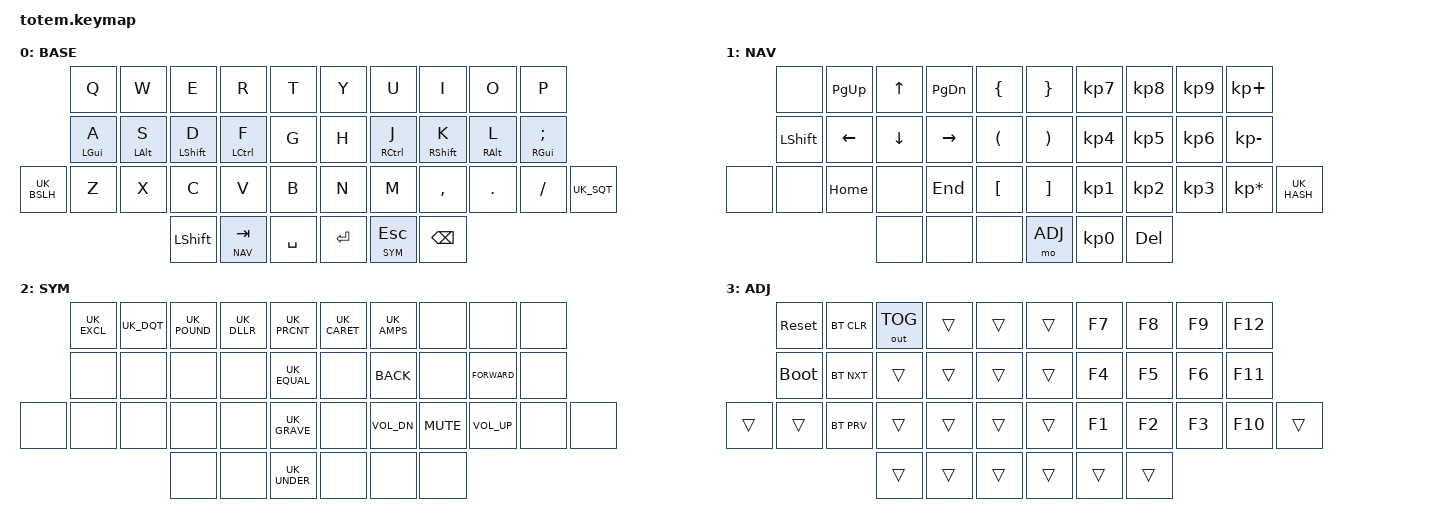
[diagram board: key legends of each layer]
//
//                                                        ▀▀▀▀▀     ▀▀▀▀▀          ▀▀█▀▀
//                                                        ▄▀▀▀▄  ▄  ▄▀▀▀▄  ▄  ▄▀▀▀▄  █  ▄▀▀▀▄
//                                                        █   █  █  █   █  █  █   █  █  █   █
//                                                         ▀▀▀   █   ▀▀▀   █   ▀▀▀   ▀   ▀▀▀
//                                                               █      ▄▄▄█▄▄▄    █   █  
//                                                               ▀      █  █  █     █▄█
//                                                             ▀▀▀▀▀    █  █  █      ▀
//                                                                      ▀  ▀  ▀
//
// ▄▄▄▄▄▄▄▄▄▄▄▄▄▄▄▄▄▄▄▄▄▄▄▄▄▄▄▄▄▄▄▄▄▄▄▄▄▄▄▄▄▄▄▄▄▄▄▄▄▄▄▄▄▄▄▄▄▄▄▄▄▄▄▄▄▄▄▄▄▄▄▄▄▄▄▄▄▄▄▄▄▄▄▄▄▄▄▄▄▄▄▄▄▄▄▄▄▄▄▄▄▄▄▄▄▄▄▄▄▄▄▄▄▄▄▄▄▄▄▄▄▄▄▄▄▄▄▄▄▄▄▄▄▄▄▄▄▄▄▄▄▄▄▄▄▄▄▄▄
       

#include <behaviors.dtsi>
#include <dt-bindings/zmk/keys.h>
#include <dt-bindings/zmk/bt.h>
#include <dt-bindings/zmk/outputs.h>

#include "keys_uk.h"

#define BASE 0
#define NAV  1
#define SYM  2
#define ADJ  3

&mt {
  quick-tap-ms = <100>;
  global-quick-tap;
  flavor = "tap-preferred";
  tapping-term-ms = <170>;
};

/ {
     combos {
            compatible = "zmk,combos";
            combo_esc {
                timeout-ms = <50>;
                key-positions = <0 1>;
                bindings = <&kp ESC>;
            };
    };

    macros {
        gif: gif {
            label = "giphy";
            compatible = "zmk,behavior-macro";
            #binding-cells = <0>;
            bindings
                = <&macro_press &kp LSHFT>
                , <&macro_tap &kp N2>
                , <&macro_release &kp LSHFT>
                , <&macro_tap &kp G &kp I &kp F>
                ;
        };
    };

        keymap {
                compatible = "zmk,keymap";
// ▄▄▄▄▄▄▄▄▄▄▄▄▄▄▄▄▄▄▄▄▄▄▄▄▄▄▄▄▄▄▄▄▄▄▄▄▄▄▄▄▄▄▄▄▄▄▄▄▄▄▄▄▄▄▄▄▄▄▄▄▄▄▄▄▄▄▄▄▄▄▄▄▄▄▄▄▄▄▄▄▄▄▄▄▄▄▄▄▄▄▄▄▄▄▄▄▄▄▄▄▄▄▄▄▄▄▄▄▄▄▄▄▄▄▄▄▄▄▄▄▄▄▄▄▄▄▄▄▄▄▄▄▄▄▄▄▄▄▄▄▄▄▄▄▄▄▄▄▄

                base_layer {
// ┏━━━━━━━━━━━━━━━━━━━━━━━━━━━━━━━━━━━━━━━┓
label= "BASE"                              ;
// ┗━━━━━━━━━━━━━━━━━━━━━━━━━━━━━━━━━━━━━━━┛
//             ┏━━━━━━━━━━━┳━━━━━━━━━━━┳━━━━━━━━━━━┳━━━━━━━━━━━┳━━━━━━━━━━━┓   ┏━━━━━━━━━━━┳━━━━━━━━━━━┳━━━━━━━━━━━┳━━━━━━━━━━━┳━━━━━━━━━━━┓
//             ┃     Q     ┃     W     ┃     E     ┃     R     ┃     T     ┃   ┃     Y     ┃     U     ┃     I     ┃     O     ┃     P     ┃
//             ┣━━━━━━━━━━━╋━━━━━━━━━━━╋━━━━━━━━━━━╋━━━━━━━━━━━╋━━━━━━━━━━━┫   ┣━━━━━━━━━━━╋━━━━━━━━━━━╋━━━━━━━━━━━╋━━━━━━━━━━━╋━━━━━━━━━━━┫
//             ┃     A     ┃     S     ┃     D     ┃     F     ┃     G     ┃   ┃     H     ┃     J     ┃     K     ┃     L     ┃     ;     ┃
// ┏━━━━━━━━━━━╋━━━━━━━━━━━╋━━━━━━━━━━━╋━━━━━━━━━━━╋━━━━━━━━━━━╋━━━━━━━━━━━┫   ┣━━━━━━━━━━━╋━━━━━━━━━━━╋━━━━━━━━━━━╋━━━━━━━━━━━╋━━━━━━━━━━━╋━━━━━━━━━━━┓
// ┃     \     ┃     Z     ┃     X     ┃     C     ┃     V     ┃     B     ┃   ┃     N     ┃     M     ┃     ,     ┃     .     ┃     /     ┃     '     ┃
// ┗━━━━━━━━━━━┻━━━━━━━━━━━┻━━━━━━━━━━━╋━━━━━━━━━━━╋━━━━━━━━━━━╋━━━━━━━━━━━┫   ┣━━━━━━━━━━━╋━━━━━━━━━━━╋━━━━━━━━━━━╋━━━━━━━━━━━┻━━━━━━━━━━━┻━━━━━━━━━━━┛
//                                     ┃   LSHFT   ┃  TAB/NAV  ┃    SPC    ┃   ┃   ENTER   ┃  ESC/SYM  ┃   BSPC    ┃
//                                     ┗━━━━━━━━━━━┻━━━━━━━━━━━┻━━━━━━━━━━━┛   ┗━━━━━━━━━━━┻━━━━━━━━━━━┻━━━━━━━━━━━┛
 bindings = <
// ╷           ╷           ╷           ╷           ╷           ╷           ╷   ╷           ╷           ╷           ╷           ╷             ╷           ╷

                &kp Q       &kp W       &kp E       &kp R       &kp T           &kp Y       &kp U       &kp I       &kp O       &kp P
                &mt LGUI A  &mt LALT S  &mt LSHFT D &mt LCTRL F &kp G           &kp H       &mt RCTRL J &mt RSHFT K &mt RALT L  &mt RGUI SEMI
    &kp UK_BSLH &kp Z       &kp X       &kp C       &kp V       &kp B           &kp N       &kp M       &kp COMMA   &kp DOT     &kp FSLH      &kp UK_SQT
                                        &kp LSHFT   &lt NAV TAB &kp SPACE       &kp RET     &lt SYM ESC &kp BSPC
                        >;
                };

// ▄▄▄▄▄▄▄▄▄▄▄▄▄▄▄▄▄▄▄▄▄▄▄▄▄▄▄▄▄▄▄▄▄▄▄▄▄▄▄▄▄▄▄▄▄▄▄▄▄▄▄▄▄▄▄▄▄▄▄▄▄▄▄▄▄▄▄▄▄▄▄▄▄▄▄▄▄▄▄▄▄▄▄▄▄▄▄▄▄▄▄▄▄▄▄▄▄▄▄▄▄▄▄▄▄▄▄▄▄▄▄▄▄▄▄▄▄▄▄▄▄▄▄▄▄▄▄▄▄▄▄▄▄▄▄▄▄▄▄▄▄▄▄▄▄▄▄▄▄


                nav_layer {
// ┏━━━━━━━━━━━━━━━━━━━━━━━━━━━━━━━━━━━━━━━┓
label= "NAV"                              ;
// ┗━━━━━━━━━━━━━━━━━━━━━━━━━━━━━━━━━━━━━━━┛
//             ┏━━━━━━━━━━━┳━━━━━━━━━━━┳━━━━━━━━━━━┳━━━━━━━━━━━┳━━━━━━━━━━━┓   ┏━━━━━━━━━━━┳━━━━━━━━━━━┳━━━━━━━━━━━┳━━━━━━━━━━━┳━━━━━━━━━━━┓
//             ┃           ┃   P UP    ┃     UP    ┃  P DOWN   ┃     {     ┃   ┃     }     ┃     7     ┃     8     ┃     9     ┃     +     ┃
//             ┣━━━━━━━━━━━╋━━━━━━━━━━━╋━━━━━━━━━━━╋━━━━━━━━━━━╋━━━━━━━━━━━┫   ┣━━━━━━━━━━━╋━━━━━━━━━━━╋━━━━━━━━━━━╋━━━━━━━━━━━╋━━━━━━━━━━━┫
//             ┃   SHIFT   ┃   LEFT    ┃    DOWN   ┃   RIGHT   ┃     (     ┃   ┃     )     ┃     4     ┃     5     ┃     6     ┃     -     ┃
// ┏━━━━━━━━━━━╋━━━━━━━━━━━╋━━━━━━━━━━━╋━━━━━━━━━━━╋━━━━━━━━━━━╋━━━━━━━━━━━┫   ┣━━━━━━━━━━━╋━━━━━━━━━━━╋━━━━━━━━━━━╋━━━━━━━━━━━╋━━━━━━━━━━━╋━━━━━━━━━━━┓
// ┃           ┃           ┃   HOME    ┃           ┃    END    ┃     [     ┃   ┃     ]     ┃     1     ┃     2     ┃     3     ┃     *     ┃     #     ┃
// ┗━━━━━━━━━━━┻━━━━━━━━━━━┻━━━━━━━━━━━╋━━━━━━━━━━━╋━━━━━━━━━━━╋━━━━━━━━━━━┫   ┣━━━━━━━━━━━╋━━━━━━━━━━━╋━━━━━━━━━━━╋━━━━━━━━━━━┻━━━━━━━━━━━┻━━━━━━━━━━━┛
//                                     ┃           ┃           ┃           ┃   ┃    ADJ    ┃     0     ┃    DEL    ┃
//                                     ┗━━━━━━━━━━━┻━━━━━━━━━━━┻━━━━━━━━━━━┛   ┗━━━━━━━━━━━┻━━━━━━━━━━━┻━━━━━━━━━━━┛
 bindings = <
// ╷           ╷           ╷           ╷           ╷           ╷           ╷   ╷           ╷           ╷           ╷           ╷               ╷           ╷

                &none       &kp PG_UP   &kp UP      &kp PG_DN   &kp LBRC        &kp RBRC    &kp KP_N7   &kp KP_N8   &kp KP_N9   &kp KP_PLUS
                &kp LSHFT   &kp LEFT    &kp DOWN    &kp RIGHT   &kp LPAR        &kp RPAR    &kp KP_N4   &kp KP_N5   &kp KP_N6   &kp KP_MINUS
    &none       &none       &kp HOME    &none       &kp END     &kp LBKT        &kp RBKT    &kp KP_N1   &kp KP_N2   &kp KP_N3   &kp KP_MULTIPLY &kp UK_HASH
                                        &none       &none       &none           &mo ADJ     &kp KP_N0   &kp DEL
                        >;
                };

// ▄▄▄▄▄▄▄▄▄▄▄▄▄▄▄▄▄▄▄▄▄▄▄▄▄▄▄▄▄▄▄▄▄▄▄▄▄▄▄▄▄▄▄▄▄▄▄▄▄▄▄▄▄▄▄▄▄▄▄▄▄▄▄▄▄▄▄▄▄▄▄▄▄▄▄▄▄▄▄▄▄▄▄▄▄▄▄▄▄▄▄▄▄▄▄▄▄▄▄▄▄▄▄▄▄▄▄▄▄▄▄▄▄▄▄▄▄▄▄▄▄▄▄▄▄▄▄▄▄▄▄▄▄▄▄▄▄▄▄▄▄▄▄▄▄▄▄▄▄


                sym_layer {
// ┏━━━━━━━━━━━━━━━━━━━━━━━━━━━━━━━━━━━━━━━┓
label= "SYM"                               ;
// ┗━━━━━━━━━━━━━━━━━━━━━━━━━━━━━━━━━━━━━━━┛
//             ┏━━━━━━━━━━━┳━━━━━━━━━━━┳━━━━━━━━━━━┳━━━━━━━━━━━┳━━━━━━━━━━━┓   ┏━━━━━━━━━━━┳━━━━━━━━━━━┳━━━━━━━━━━━┳━━━━━━━━━━━┳━━━━━━━━━━━┓
//             ┃     !     ┃     @     ┃     #     ┃     $     ┃     %     ┃   ┃     ˆ     ┃     &     ┃           ┃           ┃           ┃
//             ┣━━━━━━━━━━━╋━━━━━━━━━━━╋━━━━━━━━━━━╋━━━━━━━━━━━╋━━━━━━━━━━━┫   ┣━━━━━━━━━━━╋━━━━━━━━━━━╋━━━━━━━━━━━╋━━━━━━━━━━━╋━━━━━━━━━━━┫
//             ┃           ┃           ┃           ┃           ┃     =     ┃   ┃           ┃   BACK    ┃           ┃  FORWARD  ┃           ┃
// ┏━━━━━━━━━━━╋━━━━━━━━━━━╋━━━━━━━━━━━╋━━━━━━━━━━━╋━━━━━━━━━━━╋━━━━━━━━━━━┫   ┣━━━━━━━━━━━╋━━━━━━━━━━━╋━━━━━━━━━━━╋━━━━━━━━━━━╋━━━━━━━━━━━╋━━━━━━━━━━━┓
// ┃           ┃           ┃           ┃           ┃           ┃     `     ┃   ┃           ┃   VOL-    ┃   MUTE    ┃    VOL+   ┃           ┃           ┃
// ┗━━━━━━━━━━━┻━━━━━━━━━━━┻━━━━━━━━━━━╋━━━━━━━━━━━╋━━━━━━━━━━━╋━━━━━━━━━━━┫   ┣━━━━━━━━━━━╋━━━━━━━━━━━╋━━━━━━━━━━━╋━━━━━━━━━━━┻━━━━━━━━━━━┻━━━━━━━━━━━┛
//                                     ┃           ┃           ┃     _     ┃   ┃           ┃           ┃           ┃
//                                     ┗━━━━━━━━━━━┻━━━━━━━━━━━┻━━━━━━━━━━━┛   ┗━━━━━━━━━━━┻━━━━━━━━━━━┻━━━━━━━━━━━┛
 bindings = <
// ╷           ╷           ╷           ╷            ╷            ╷            ╷   ╷            ╷            ╷           ╷            ╷           ╷           ╷

                &kp UK_EXCL &kp UK_DQT  &kp UK_POUND &kp UK_DLLR  &kp UK_PRCNT     &kp UK_CARET &kp UK_AMPS  &none       &none         &none
                &none       &none       &none        &none        &kp UK_EQUAL     &none        &kp K_BACK   &none       &kp K_FORWARD &none
    &none       &none       &none       &none        &none        &kp UK_GRAVE     &none        &kp C_VOL_DN &kp C_MUTE  &kp C_VOL_UP  &none      &none
                                        &none        &none        &kp UK_UNDER     &none        &none        &none
                        >;
                };

// ▄▄▄▄▄▄▄▄▄▄▄▄▄▄▄▄▄▄▄▄▄▄▄▄▄▄▄▄▄▄▄▄▄▄▄▄▄▄▄▄▄▄▄▄▄▄▄▄▄▄▄▄▄▄▄▄▄▄▄▄▄▄▄▄▄▄▄▄▄▄▄▄▄▄▄▄▄▄▄▄▄▄▄▄▄▄▄▄▄▄▄▄▄▄▄▄▄▄▄▄▄▄▄▄▄▄▄▄▄▄▄▄▄▄▄▄▄▄▄▄▄▄▄▄▄▄▄▄▄▄▄▄▄▄▄▄▄▄▄▄▄▄▄▄▄▄▄▄▄


                adj_layer {
// ┏━━━━━━━━━━━━━━━━━━━━━━━━━━━━━━━━━━━━━━━┓
label= "ADJ"                               ;
// ┗━━━━━━━━━━━━━━━━━━━━━━━━━━━━━━━━━━━━━━━┛
//             ┏━━━━━━━━━━━┳━━━━━━━━━━━┳━━━━━━━━━━━┳━━━━━━━━━━━┳━━━━━━━━━━━┓   ┏━━━━━━━━━━━┳━━━━━━━━━━━┳━━━━━━━━━━━┳━━━━━━━━━━━┳━━━━━━━━━━━┓
//             ┃   RESET   ┃ BT CLEAR  ┃  OUT TOG  ┃           ┃           ┃   ┃           ┃    F7     ┃    F8     ┃    F9     ┃    F12    ┃
//             ┣━━━━━━━━━━━╋━━━━━━━━━━━╋━━━━━━━━━━━╋━━━━━━━━━━━╋━━━━━━━━━━━┫   ┣━━━━━━━━━━━╋━━━━━━━━━━━╋━━━━━━━━━━━╋━━━━━━━━━━━╋━━━━━━━━━━━┫
//             ┃ BOOTLOAD  ┃ BT NEXT   ┃           ┃           ┃           ┃   ┃           ┃    F4     ┃    F5     ┃    F6     ┃    F11    ┃
// ┏━━━━━━━━━━━╋━━━━━━━━━━━╋━━━━━━━━━━━╋━━━━━━━━━━━╋━━━━━━━━━━━╋━━━━━━━━━━━┫   ┣━━━━━━━━━━━╋━━━━━━━━━━━╋━━━━━━━━━━━╋━━━━━━━━━━━╋━━━━━━━━━━━╋━━━━━━━━━━━┓
// ┃           ┃           ┃ BT PREV   ┃           ┃           ┃           ┃   ┃           ┃    F1     ┃    F2     ┃    F3     ┃    F10    ┃           ┃
// ┗━━━━━━━━━━━┻━━━━━━━━━━━┻━━━━━━━━━━━╋━━━━━━━━━━━╋━━━━━━━━━━━╋━━━━━━━━━━━┫   ┣━━━━━━━━━━━╋━━━━━━━━━━━╋━━━━━━━━━━━╋━━━━━━━━━━━┻━━━━━━━━━━━┻━━━━━━━━━━━┛
//                                     ┃           ┃           ┃           ┃   ┃           ┃           ┃           ┃
//                                     ┗━━━━━━━━━━━┻━━━━━━━━━━━┻━━━━━━━━━━━┛   ┗━━━━━━━━━━━┻━━━━━━━━━━━┻━━━━━━━━━━━┛
 bindings = <
// ╷           ╷           ╷           ╷           ╷           ╷           ╷   ╷           ╷           ╷           ╷           ╷           ╷           ╷

                &sys_reset  &bt BT_CLR &out OUT_TOG &trans      &trans          &trans      &kp F7      &kp F8      &kp F9      &kp F12
                &bootloader &bt BT_NXT  &trans      &trans      &trans          &trans      &kp F4      &kp F5      &kp F6      &kp F11  
    &trans      &trans      &bt BT_PRV  &trans      &trans      &trans          &trans      &kp F1      &kp F2      &kp F3      &kp F10     &trans         
                                        &trans      &trans      &trans          &trans      &trans      &trans      
                        >;
                };
        };
};
